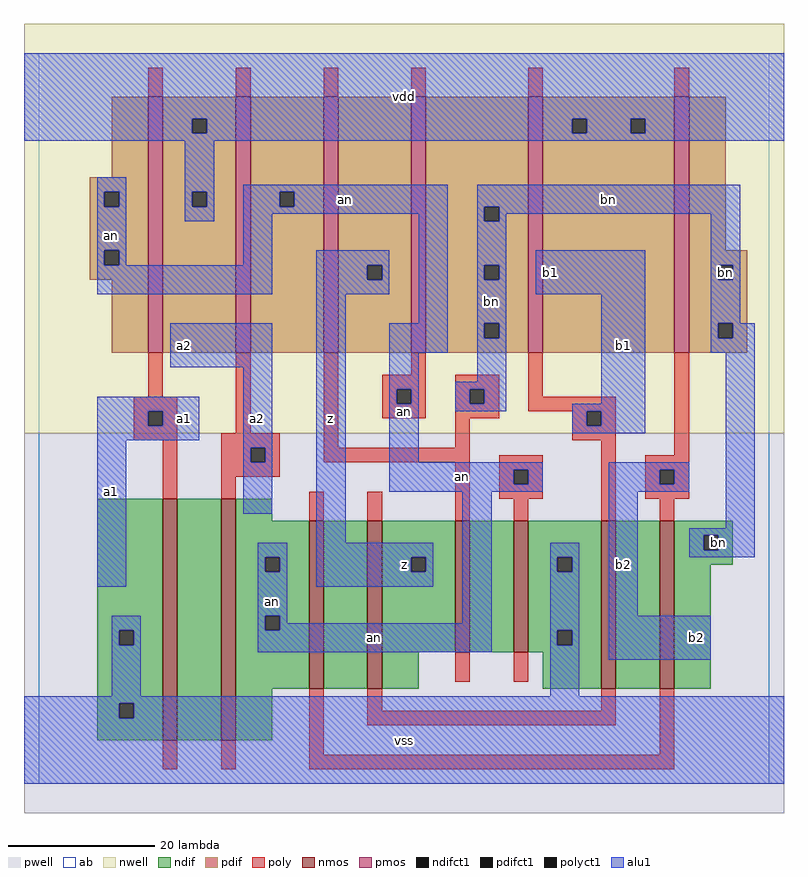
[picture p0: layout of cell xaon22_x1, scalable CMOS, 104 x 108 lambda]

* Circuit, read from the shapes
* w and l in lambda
.subckt xaon22_x1 a1 a2 an b1 b2 bn vdd vss z
M1 n1 a1 vss VSUBS nfet w=33 l=2
M2 an a2 n1 VSUBS nfet w=33 l=2
M3 n2 b2 an VSUBS nfet w=23 l=2
M4 z b1 n2 VSUBS nfet w=23 l=2
M5 n3 bn z VSUBS nfet w=18 l=2
M6 vss an n3 VSUBS nfet w=18 l=2
M7 n4 b1 vss VSUBS nfet w=23 l=2
M8 bn b2 n4 VSUBS nfet w=23 l=2
M9 vdd a1 an n5 pfet w=35 l=2
M10 an a2 vdd n5 pfet w=35 l=2
M11 z bn an n5 pfet w=35 l=2
M12 bn an z n5 pfet w=35 l=2
M13 vdd b1 bn n5 pfet w=35 l=2
M14 bn b2 vdd n5 pfet w=35 l=2
.ends

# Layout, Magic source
magic
tech scmos
<< ab >>
rect 0 0 100 100
<< nwell >>
rect -2 48 102 104
<< pwell >>
rect -2 -4 102 48
<< poly >>
rect 15 94 17 98
rect 27 94 29 98
rect 39 94 41 98
rect 51 94 53 98
rect 67 94 69 98
rect 87 94 89 98
rect 15 53 17 59
rect 13 51 19 53
rect 13 49 15 51
rect 17 49 19 51
rect 13 47 19 49
rect 27 48 29 59
rect 17 39 19 47
rect 25 46 33 48
rect 25 44 29 46
rect 31 44 33 46
rect 39 46 41 59
rect 51 56 53 59
rect 47 54 53 56
rect 47 52 49 54
rect 51 52 53 54
rect 47 50 53 52
rect 57 54 63 56
rect 57 52 59 54
rect 61 52 63 54
rect 57 50 63 52
rect 67 53 69 59
rect 67 51 79 53
rect 57 46 59 50
rect 73 49 75 51
rect 77 49 79 51
rect 73 47 79 49
rect 39 44 59 46
rect 25 42 33 44
rect 25 39 27 42
rect 37 36 39 40
rect 45 36 47 40
rect 57 36 59 44
rect 63 43 69 45
rect 63 41 65 43
rect 67 41 69 43
rect 63 39 69 41
rect 65 36 67 39
rect 77 36 79 47
rect 87 45 89 59
rect 83 43 89 45
rect 83 41 85 43
rect 87 41 89 43
rect 83 39 89 41
rect 85 36 87 39
rect 57 14 59 18
rect 65 14 67 18
rect 17 2 19 6
rect 25 2 27 6
rect 37 4 39 13
rect 45 10 47 13
rect 77 10 79 13
rect 45 8 79 10
rect 85 4 87 13
rect 37 2 87 4
<< ndif >>
rect 8 21 17 39
rect 8 19 11 21
rect 13 19 17 21
rect 8 11 17 19
rect 8 9 11 11
rect 13 9 17 11
rect 8 6 17 9
rect 19 6 25 39
rect 27 36 32 39
rect 27 31 37 36
rect 27 29 31 31
rect 33 29 37 31
rect 27 23 37 29
rect 27 21 31 23
rect 33 21 37 23
rect 27 13 37 21
rect 39 13 45 36
rect 47 31 57 36
rect 47 29 51 31
rect 53 29 57 31
rect 47 18 57 29
rect 59 18 65 36
rect 67 31 77 36
rect 67 29 71 31
rect 73 29 77 31
rect 67 21 77 29
rect 67 19 71 21
rect 73 19 77 21
rect 67 18 77 19
rect 47 13 52 18
rect 69 13 77 18
rect 79 13 85 36
rect 87 34 95 36
rect 87 32 91 34
rect 93 32 95 34
rect 87 30 95 32
rect 87 13 92 30
rect 27 6 32 13
<< pdif >>
rect 10 83 15 94
rect 7 81 15 83
rect 7 79 9 81
rect 11 79 15 81
rect 7 73 15 79
rect 7 71 9 73
rect 11 71 15 73
rect 7 69 15 71
rect 10 59 15 69
rect 17 91 27 94
rect 17 89 21 91
rect 23 89 27 91
rect 17 81 27 89
rect 17 79 21 81
rect 23 79 27 81
rect 17 59 27 79
rect 29 81 39 94
rect 29 79 33 81
rect 35 79 39 81
rect 29 59 39 79
rect 41 71 51 94
rect 41 69 45 71
rect 47 69 51 71
rect 41 59 51 69
rect 53 79 67 94
rect 53 77 61 79
rect 63 77 67 79
rect 53 71 67 77
rect 53 69 61 71
rect 63 69 67 71
rect 53 63 67 69
rect 53 61 61 63
rect 63 61 67 63
rect 53 59 67 61
rect 69 91 87 94
rect 69 89 73 91
rect 75 89 81 91
rect 83 89 87 91
rect 69 59 87 89
rect 89 73 94 94
rect 89 71 97 73
rect 89 69 93 71
rect 95 69 97 71
rect 89 63 97 69
rect 89 61 93 63
rect 95 61 97 63
rect 89 59 97 61
<< alu1 >>
rect -2 91 102 100
rect -2 89 21 91
rect 23 89 73 91
rect 75 89 81 91
rect 83 89 102 91
rect -2 88 102 89
rect 8 81 12 83
rect 8 79 9 81
rect 11 79 12 81
rect 8 73 12 79
rect 20 81 24 88
rect 20 79 21 81
rect 23 79 24 81
rect 20 77 24 79
rect 28 81 56 82
rect 28 79 33 81
rect 35 79 56 81
rect 28 78 56 79
rect 8 71 9 73
rect 11 71 12 73
rect 28 71 32 78
rect 8 67 32 71
rect 38 71 48 73
rect 38 69 45 71
rect 47 69 48 71
rect 38 67 48 69
rect 18 57 32 63
rect 8 51 22 53
rect 8 49 15 51
rect 17 49 22 51
rect 8 47 22 49
rect 8 27 12 47
rect 28 46 32 57
rect 28 44 29 46
rect 31 44 32 46
rect 28 37 32 44
rect 38 33 42 67
rect 52 63 56 78
rect 48 59 56 63
rect 60 79 96 82
rect 60 77 61 79
rect 63 78 96 79
rect 63 77 64 78
rect 60 71 64 77
rect 60 69 61 71
rect 63 69 64 71
rect 60 63 64 69
rect 68 67 83 73
rect 60 61 61 63
rect 63 61 64 63
rect 48 54 52 59
rect 60 55 64 61
rect 48 52 49 54
rect 51 52 52 54
rect 48 44 52 52
rect 57 54 64 55
rect 57 52 59 54
rect 61 52 64 54
rect 77 52 83 67
rect 92 71 96 78
rect 92 69 93 71
rect 95 69 96 71
rect 92 63 96 69
rect 92 61 93 63
rect 95 61 98 63
rect 92 59 98 61
rect 57 51 64 52
rect 73 51 83 52
rect 73 49 75 51
rect 77 49 83 51
rect 73 48 83 49
rect 48 43 69 44
rect 48 41 65 43
rect 67 41 69 43
rect 48 40 69 41
rect 78 43 89 44
rect 78 41 85 43
rect 87 41 89 43
rect 78 40 89 41
rect 30 31 34 33
rect 30 29 31 31
rect 33 29 34 31
rect 30 23 34 29
rect 38 31 54 33
rect 38 29 51 31
rect 53 29 54 31
rect 38 27 54 29
rect 10 21 14 23
rect 10 19 11 21
rect 13 19 14 21
rect 10 12 14 19
rect 30 21 31 23
rect 33 22 34 23
rect 58 22 62 40
rect 33 21 62 22
rect 30 18 62 21
rect 70 31 74 33
rect 70 29 71 31
rect 73 29 74 31
rect 70 21 74 29
rect 70 19 71 21
rect 73 19 74 21
rect 70 12 74 19
rect 78 23 82 40
rect 94 35 98 59
rect 89 34 98 35
rect 89 32 91 34
rect 93 32 98 34
rect 89 31 98 32
rect 78 17 92 23
rect -2 11 102 12
rect -2 9 11 11
rect 13 9 102 11
rect -2 0 102 9
<< nmos >>
rect 17 6 19 39
rect 25 6 27 39
rect 37 13 39 36
rect 45 13 47 36
rect 57 18 59 36
rect 65 18 67 36
rect 77 13 79 36
rect 85 13 87 36
<< pmos >>
rect 15 59 17 94
rect 27 59 29 94
rect 39 59 41 94
rect 51 59 53 94
rect 67 59 69 94
rect 87 59 89 94
<< polyct1 >>
rect 15 49 17 51
rect 29 44 31 46
rect 49 52 51 54
rect 59 52 61 54
rect 75 49 77 51
rect 65 41 67 43
rect 85 41 87 43
<< ndifct1 >>
rect 11 19 13 21
rect 11 9 13 11
rect 31 29 33 31
rect 31 21 33 23
rect 51 29 53 31
rect 71 29 73 31
rect 71 19 73 21
rect 91 32 93 34
<< pdifct1 >>
rect 9 79 11 81
rect 9 71 11 73
rect 21 89 23 91
rect 21 79 23 81
rect 33 79 35 81
rect 45 69 47 71
rect 61 77 63 79
rect 61 69 63 71
rect 61 61 63 63
rect 73 89 75 91
rect 81 89 83 91
rect 93 69 95 71
rect 93 61 95 63
<< labels >>
rlabel alu1 10 40 10 40 6 a1
rlabel alu1 10 75 10 75 6 an
rlabel alu1 32 25 32 25 6 an
rlabel alu1 20 50 20 50 6 a1
rlabel alu1 30 50 30 50 6 a2
rlabel alu1 20 60 20 60 6 a2
rlabel alu1 50 6 50 6 6 vss
rlabel alu1 50 30 50 30 6 z
rlabel alu1 40 50 40 50 6 z
rlabel alu1 50 51 50 51 6 an
rlabel alu1 42 80 42 80 6 an
rlabel alu1 50 94 50 94 6 vdd
rlabel alu1 46 20 46 20 6 an
rlabel alu1 58 42 58 42 6 an
rlabel alu1 70 70 70 70 6 b1
rlabel alu1 62 66 62 66 6 bn
rlabel alu1 90 20 90 20 6 b2
rlabel alu1 80 30 80 30 6 b2
rlabel alu1 93 33 93 33 6 bn
rlabel alu1 80 60 80 60 6 b1
rlabel alu1 78 80 78 80 6 bn
rlabel pdifct1 94 70 94 70 6 bn
<< end >>
